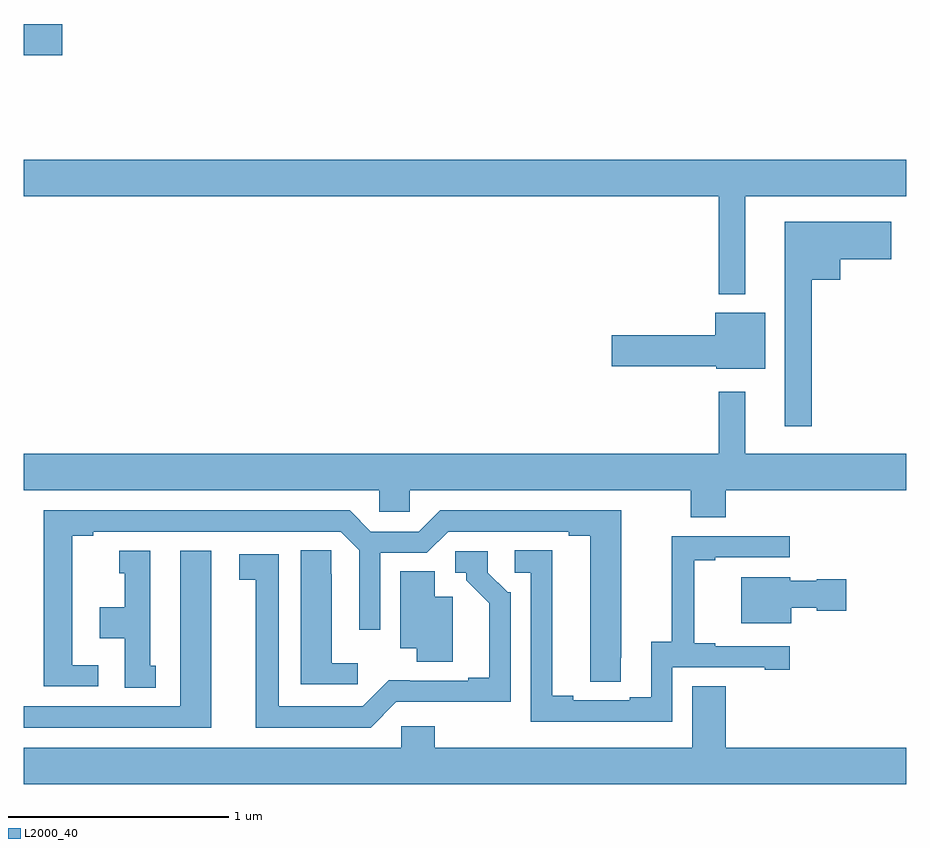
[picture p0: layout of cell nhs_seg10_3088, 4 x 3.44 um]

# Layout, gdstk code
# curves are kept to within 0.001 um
import gdstk
lib = gdstk.Library(unit=1e-6, precision=1e-09)
def R(c, l, rs):  # rectangles x0, y0, x1, y1
    for r in rs: c.add(gdstk.rectangle(r[:2], r[2:], *l))
def P(c, l, *ps):  # polygons
    for p in ps: c.add(gdstk.Polygon(p, *l))
L2000_40 = (2000, 40)

nhs_seg10_3088 = lib.new_cell('nhs_seg10_3088')
R(nhs_seg10_3088, L2000_40, [(279,1266.322,279.175,1266.464)])
P(nhs_seg10_3088, L2000_40, [(282.271,1265.684),(283,1265.684),(283,1265.848),(279,1265.848),(279,1265.684),(282.15,1265.684),(282.15,1265.24),(282.271,1265.24)],
  [(282.571,1265.306),(282.7,1265.306),(282.7,1265.399),(282.931,1265.399),(282.931,1265.569),(282.449,1265.569),(282.449,1264.641),(282.571,1264.641)],
  [(282.361,1265.155),(282.134,1265.155),(282.134,1265.054),(281.664,1265.054),(281.664,1264.912),(282.138,1264.912),(282.138,1264.901),(282.361,1264.901)],
  [(279,1264.352),(280.611,1264.352),(280.611,1264.254),(280.749,1264.254),(280.749,1264.352),(282.022,1264.352),(282.022,1264.228),(282.182,1264.228),(282.182,1264.352),(283,1264.352),(283,1264.516),(282.271,1264.516),(282.271,1264.798),(282.15,1264.798),(282.15,1264.516),(279,1264.516)],
  [(279.337,1263.558),(279.22,1263.558),(279.22,1264.144),(279.316,1264.144),(279.316,1264.164),(280.437,1264.164),(280.521,1264.08),(280.521,1263.72),(280.617,1263.72),(280.617,1264.068),(280.827,1264.068),(280.923,1264.164),(281.471,1264.164),(281.471,1264.144),(281.567,1264.144),(281.567,1263.484),(281.706,1263.484),(281.707,1264.26),(280.887,1264.26),(280.791,1264.164),(280.573,1264.164),(280.477,1264.26),(279.092,1264.26),(279.092,1263.462),(279.337,1263.462)],
  [(281.94,1263.549),(282.359,1263.549),(282.359,1263.537),(282.472,1263.537),(282.472,1263.645),(282.133,1263.645),(282.133,1263.658),(282.038,1263.658),(282.038,1264.035),(282.133,1264.035),(282.133,1264.047),(282.472,1264.047),(282.472,1264.143),(281.938,1264.143),(281.938,1263.665),(281.843,1263.665),(281.843,1263.414),(281.747,1263.414),(281.747,1263.399),(281.491,1263.399),(281.491,1263.419),(281.395,1263.419),(281.395,1264.079),(281.226,1264.079),(281.226,1263.978),(281.298,1263.978),(281.298,1263.303),(281.94,1263.303)],
  [(280.513,1263.568),(280.396,1263.568),(280.396,1263.971),(280.395,1263.971),(280.395,1264.079),(280.256,1264.079),(280.256,1263.471),(280.513,1263.471)],
  [(279.85,1264.078),(279.71,1264.078),(279.71,1263.372),(279,1263.372),(279,1263.276),(279.85,1263.276)],
  [(279.598,1263.555),(279.574,1263.555),(279.574,1264.078),(279.434,1264.078),(279.434,1263.975),(279.458,1263.975),(279.458,1263.82),(279.344,1263.82),(279.344,1263.68),(279.458,1263.68),(279.458,1263.457),(279.598,1263.457)],
  [(280.689,1263.393),(281.208,1263.392),(281.208,1263.888),(281.193,1263.888),(281.103,1263.978),(281.103,1264.074),(280.956,1264.074),(280.956,1263.978),(281.006,1263.978),(281.006,1263.943),(281.111,1263.838),(281.111,1263.502),(281.015,1263.502),(281.015,1263.489),(280.654,1263.49),(280.536,1263.372),(280.156,1263.372),(280.156,1264.062),(279.978,1264.062),(279.978,1263.946),(280.052,1263.946),(280.052,1263.276),(280.572,1263.276)],
  [(280.945,1263.868),(280.864,1263.868),(280.864,1263.983),(280.706,1263.983),(280.706,1263.635),(280.781,1263.635),(280.781,1263.574),(280.945,1263.574)],
  [(282.478,1263.818),(282.594,1263.818),(282.594,1263.806),(282.727,1263.806),(282.727,1263.948),(282.594,1263.948),(282.594,1263.94),(282.474,1263.94),(282.474,1263.958),(282.251,1263.958),(282.251,1263.749),(282.478,1263.749)],
  [(283,1263.184),(282.182,1263.184),(282.182,1263.464),(282.029,1263.464),(282.029,1263.184),(280.862,1263.184),(280.862,1263.282),(280.71,1263.282),(280.71,1263.184),(279,1263.184),(279,1263.02),(283,1263.02)])

lib.write_gds('nhs_seg10_3088.gds')
